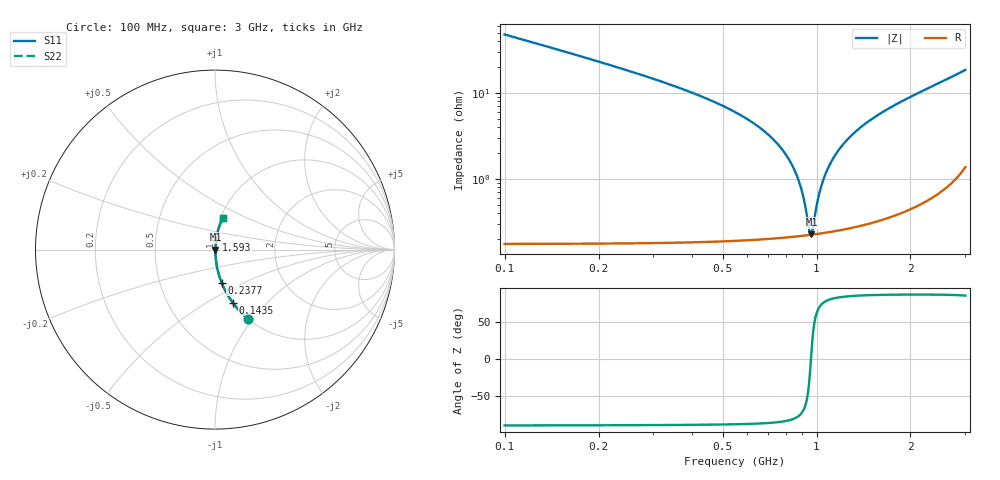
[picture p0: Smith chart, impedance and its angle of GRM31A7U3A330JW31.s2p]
!Murata Part Number: GRM31A7U3A330JW31
!These Parameters are Measured in Series Mode Connection
!Data Generated on Mar 30, 2021
!  o--ll--o
!Port1  Port2
!  o------o
!Operation Temp=25[degC], DC Bias Voltage=0[V]
!Freq. Start=100[MHz] Stop=3[GHz] 401[Steps]
# Hz S RI R 50
!Freq.(Hz) S11(Real) S11(Imag) S21(Real) S21(Imag) S12(Real) S12(Imag) S22(Real) S22(Imag)
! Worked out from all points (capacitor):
!   401 points, 100 MHz to 3 GHz, reference 50 ohm
!   read as one part in series: C = 33 pF near 114.5 MHz
!   lowest |Z| = 226 mohm at 962.8 MHz (marker M1)
!   series resonance near 959.5 MHz, so ESL is about 830 pH
!   S11 on the Smith chart (normalised r, x): 100 MHz: 1.00, -0.95; 143.5 MHz: 1.00, -0.66; 237.8 MHz: 1.00, -0.38; 1.593 GHz: 1.01, +0.11; 3 GHz: 1.03, +0.37
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1e8  0.1864 -0.3876  0.8136 0.3876  0.8136 0.3876  0.1864 -0.3876
1.435e8  0.0988 -0.2957  0.9012 0.2957  0.9012 0.2957  0.0988 -0.2957
2.3775e8  0.0367 -0.1833  0.9633 0.1833  0.9633 0.1833  0.0367 -0.1833
3.755e8  0.0135 -0.1075  0.9865 0.1075  0.9865 0.1075  0.0135 -0.1075
5.8575e8  0.00461 -0.0518  0.9954 0.0518  0.9954 0.0518  0.00461 -0.0518
7.3075e8  0.0028 -0.0279  0.9972 0.0279  0.9972 0.0279  0.0028 -0.0279
8.25e8  0.00233 -0.0154  0.9977 0.0154  0.9977 0.0154  0.00233 -0.0154
8.83e8  0.00222 -0.00849  0.9978 0.00849  0.9978 0.00849  0.00222 -0.00849
9.12e8  0.00221 -0.00519  0.9978 0.00519  0.9978 0.00519  0.00221 -0.00519
9.4825e8  0.00222 -0.0012  0.9978 0.0012  0.9978 0.0012  0.00222 -0.0012
9.6275e8  0.00223 0.000351  0.9978 -0.000351  0.9978 -0.000351  0.00223 0.000351
9.7725e8  0.00225 0.00188  0.9977 -0.00188  0.9977 -0.00188  0.00225 0.00188
1.02075e9  0.00234 0.00636  0.9977 -0.00636  0.9977 -0.00636  0.00234 0.00636
1.0715e9  0.00249 0.0114  0.9975 -0.0114  0.9975 -0.0114  0.00249 0.0114
1.144e9  0.00279 0.0183  0.9972 -0.0183  0.9972 -0.0183  0.00279 0.0183
1.2455e9  0.00335 0.0274  0.9966 -0.0274  0.9966 -0.0274  0.00335 0.0274
1.376e9  0.00431 0.0386  0.9957 -0.0386  0.9957 -0.0386  0.00431 0.0386
1.55e9  0.00596 0.0528  0.994 -0.0528  0.994 -0.0528  0.00596 0.0528
1.5935e9  0.00643 0.0563  0.9936 -0.0563  0.9936 -0.0563  0.00643 0.0563
2.03575e9  0.0129 0.091  0.9871 -0.091  0.9871 -0.091  0.0129 0.091
2.5215e9  0.0246 0.1306  0.9754 -0.1306  0.9754 -0.1306  0.0246 0.1306
3e9  0.0451 0.1738  0.9549 -0.1738  0.9549 -0.1738  0.0451 0.1738
